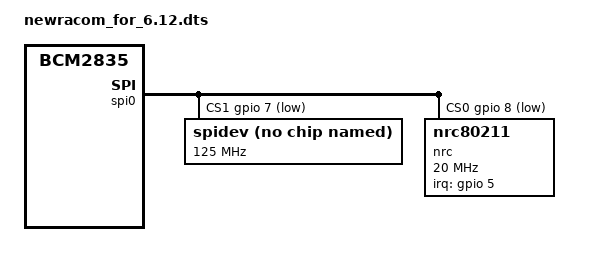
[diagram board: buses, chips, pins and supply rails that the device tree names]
/dts-v1/;
/plugin/;

/ {
    compatible = "brcm,bcm2712", "brcm,bcm2835";

    /*
     * SPI0:
     *   CS0/GPIO8 -> nrc80211
     *   CS1/GPIO7 -> spidev0.1 として残す
     */
    fragment@0 {
        target = <&spi0>;
        __overlay__ {
            status = "okay";

            #address-cells = <1>;
            #size-cells = <0>;

            /*
             * GPIO8 = CE0
             * GPIO7 = CE1
             */
            cs-gpios = <&gpio 8 1>, <&gpio 7 1>;

            /*
             * CS0 の spidev0.0 は nrc80211 と衝突するので無効化
             */
            spidev@0 {
                reg = <0>;
                status = "disabled";
            };

            /*
             * CS1 は従来通り /dev/spidev0.1 として残す
             */
            spidev@1 {
                compatible = "spidev";
                reg = <1>;
                #address-cells = <1>;
                #size-cells = <0>;
                spi-max-frequency = <125000000>;
                status = "okay";
            };

            /*
             * NRC7394 / nrc80211 device on SPI0 CS0
             */
            nrc: nrc-cspi@0 {
                compatible = "nrc80211";
                reg = <0>;

                /*
                 * GPIO5 を IRQ pin として明示的に pinctrl 適用
                 */
                pinctrl-names = "default";
                pinctrl-0 = <&nrc_irq_pin>;

                /*
                 * 元 DTS と同じ指定:
                 * GPIO5, IRQ_TYPE_LEVEL_HIGH
                 */
                interrupt-parent = <&gpio>;
                interrupts = <5 4>;

                /*
                 * まずは元と同じ 20 MHz。
                 * まだ timeout する場合は 5000000 または 1000000 に落として試す。
                 */
                spi-max-frequency = <20000000>;

                status = "okay";
            };
        };
    };

    /*
     * GPIO5 IRQ pin
     *
     * Pi 5 / RP1 GPIO では brcm,pins ではなく、
     * function/pins/input/bias-* 形式を使う。
     */
    fragment@1 {
        target = <&gpio>;
        __overlay__ {
            nrc_irq_pin: nrc_irq_pin {
                function = "gpio";
                pins = "gpio5";
                input;
                bias-pull-down;
            };
        };
    };

    __overrides__ {
        max_speed_hz = <&nrc>, "spi-max-frequency:0";
    };
};

